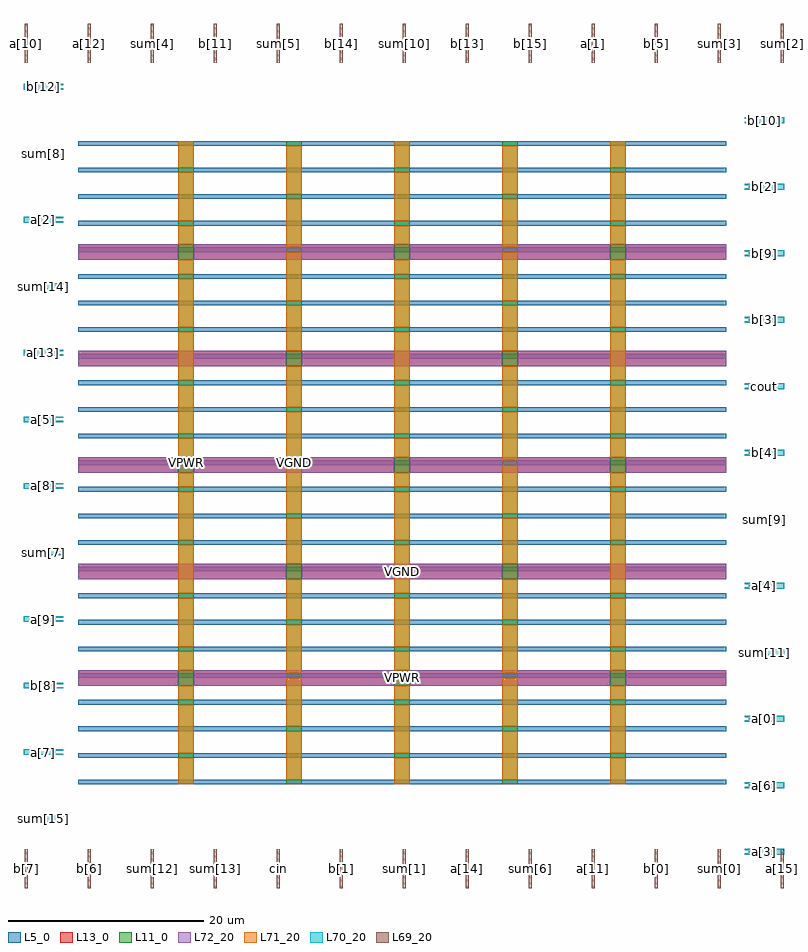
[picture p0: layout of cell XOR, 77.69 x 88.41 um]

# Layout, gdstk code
import gdstk
lib = gdstk.Library(unit=1e-6, precision=1e-09)
def R(c, l, rs):  # rectangles x0, y0, x1, y1
    for r in rs: c.add(gdstk.rectangle(r[:2], r[2:], *l))
def A(c, l, x, y, w, h, nx, ny, dx, dy):  # array of equal rectangles
    R(c, l, [(x+i*dx, y+j*dy, x+i*dx+w, y+j*dy+h) for i in range(nx) for j in range(ny)])
def P(c, l, *ps):  # polygons
    for p in ps: c.add(gdstk.Polygon(p, *l))
L5_0 = (5, 0)
L11_0 = (11, 0)
L13_0 = (13, 0)
L69_20 = (69, 20)
L70_20 = (70, 20)
L71_20 = (71, 20)
L72_20 = (72, 20)

xor = lib.new_cell('XOR')
P(xor, L69_20, [(0.09,0),(0.09,4),(0.16,4),(0.16,3.74),(0.3,3.74),(0.3,4),(0.37,4),(0.37,0)],
  [(6.53,0),(6.53,4),(6.6,4),(6.6,3.74),(6.74,3.74),(6.74,4),(6.81,4),(6.81,0)],
  [(12.97,0),(12.97,4),(13.04,4),(13.04,3.74),(13.18,3.74),(13.18,4),(13.25,4),(13.25,0)],
  [(19.41,0),(19.41,4),(19.48,4),(19.48,3.74),(19.62,3.74),(19.62,4),(19.69,4),(19.69,0)],
  [(25.85,0),(25.85,4),(25.92,4),(25.92,3.74),(26.06,3.74),(26.06,4),(26.13,4),(26.13,0)],
  [(32.29,0),(32.29,4),(32.36,4),(32.36,3.74),(32.5,3.74),(32.5,4),(32.57,4),(32.57,0)],
  [(38.73,0),(38.73,4),(38.8,4),(38.8,3.74),(38.94,3.74),(38.94,4),(39.01,4),(39.01,0)],
  [(45.17,0),(45.17,4),(45.24,4),(45.24,3.74),(45.38,3.74),(45.38,4),(45.45,4),(45.45,0)],
  [(51.61,0),(51.61,4),(51.68,4),(51.68,3.74),(51.82,3.74),(51.82,4),(51.89,4),(51.89,0)],
  [(58.05,0),(58.05,4),(58.12,4),(58.12,3.74),(58.26,3.74),(58.26,4),(58.33,4),(58.33,0)],
  [(64.49,0),(64.49,4),(64.56,4),(64.56,3.74),(64.7,3.74),(64.7,4),(64.77,4),(64.77,0)],
  [(70.93,0),(70.93,4),(71,4),(71,3.74),(71.14,3.74),(71.14,4),(71.21,4),(71.21,0)],
  [(77.37,0),(77.37,4),(77.44,4),(77.44,3.74),(77.58,3.74),(77.58,4),(77.65,4),(77.65,0)],
  [(0.09,84.405),(0.09,88.405),(0.37,88.405),(0.37,84.405),(0.3,84.405),(0.3,84.66),(0.16,84.66),(0.16,84.405)],
  [(6.53,84.405),(6.53,88.405),(6.81,88.405),(6.81,84.405),(6.74,84.405),(6.74,84.66),(6.6,84.66),(6.6,84.405)],
  [(12.97,84.405),(12.97,88.405),(13.25,88.405),(13.25,84.405),(13.18,84.405),(13.18,84.66),(13.04,84.66),(13.04,84.405)],
  [(19.41,84.405),(19.41,88.405),(19.69,88.405),(19.69,84.405),(19.62,84.405),(19.62,84.66),(19.48,84.66),(19.48,84.405)],
  [(25.85,84.405),(25.85,88.405),(26.13,88.405),(26.13,84.405),(26.06,84.405),(26.06,84.66),(25.92,84.66),(25.92,84.405)],
  [(32.29,84.405),(32.29,88.405),(32.57,88.405),(32.57,84.405),(32.5,84.405),(32.5,84.66),(32.36,84.66),(32.36,84.405)],
  [(38.73,84.405),(38.73,88.405),(39.01,88.405),(39.01,84.405),(38.94,84.405),(38.94,84.66),(38.8,84.66),(38.8,84.405)],
  [(45.17,84.405),(45.17,88.405),(45.45,88.405),(45.45,84.405),(45.38,84.405),(45.38,84.66),(45.24,84.66),(45.24,84.405)],
  [(51.61,84.405),(51.61,88.405),(51.89,88.405),(51.89,84.405),(51.82,84.405),(51.82,84.66),(51.68,84.66),(51.68,84.405)],
  [(58.05,84.405),(58.05,88.405),(58.33,88.405),(58.33,84.405),(58.26,84.405),(58.26,84.66),(58.12,84.66),(58.12,84.405)],
  [(64.49,84.405),(64.49,88.405),(64.77,88.405),(64.77,84.405),(64.7,84.405),(64.7,84.66),(64.56,84.66),(64.56,84.405)],
  [(70.93,84.405),(70.93,88.405),(71.21,88.405),(71.21,84.405),(71.14,84.405),(71.14,84.66),(71,84.66),(71,84.405)],
  [(77.37,84.405),(77.37,88.405),(77.65,88.405),(77.65,84.405),(77.58,84.405),(77.58,84.66),(77.44,84.66),(77.44,84.405)])
P(xor, L70_20, [(73.685,3.44),(73.685,3.59),(74.06,3.59),(74.06,3.89),(73.685,3.89),(73.685,4.04),(77.685,4.04),(77.685,3.44)],
  [(0,6.84),(0,7.44),(4,7.44),(4,7.29),(3.22,7.29),(3.22,6.99),(4,6.99),(4,6.84)],
  [(73.685,10.24),(73.685,10.39),(74.06,10.39),(74.06,10.69),(73.685,10.69),(73.685,10.84),(77.685,10.84),(77.685,10.24)],
  [(0,13.64),(0,14.24),(4,14.24),(4,14.09),(3.22,14.09),(3.22,13.79),(4,13.79),(4,13.64)],
  [(73.685,17.04),(73.685,17.19),(74.06,17.19),(74.06,17.49),(73.685,17.49),(73.685,17.64),(77.685,17.64),(77.685,17.04)],
  [(0,20.44),(0,21.04),(4,21.04),(4,20.89),(3.22,20.89),(3.22,20.59),(4,20.59),(4,20.44)],
  [(73.685,23.84),(73.685,23.99),(74.06,23.99),(74.06,24.29),(73.685,24.29),(73.685,24.44),(77.685,24.44),(77.685,23.84)],
  [(0,27.24),(0,27.84),(4,27.84),(4,27.69),(3.22,27.69),(3.22,27.39),(4,27.39),(4,27.24)],
  [(73.685,30.64),(73.685,30.79),(74.06,30.79),(74.06,31.09),(73.685,31.09),(73.685,31.24),(77.685,31.24),(77.685,30.64)],
  [(0,34.04),(0,34.64),(4,34.64),(4,34.49),(3.22,34.49),(3.22,34.19),(4,34.19),(4,34.04)],
  [(73.685,37.44),(73.685,37.59),(74.06,37.59),(74.06,37.89),(73.685,37.89),(73.685,38.04),(77.685,38.04),(77.685,37.44)],
  [(0,40.84),(0,41.44),(4,41.44),(4,41.29),(3.22,41.29),(3.22,40.99),(4,40.99),(4,40.84)],
  [(73.685,44.24),(73.685,44.39),(74.06,44.39),(74.06,44.69),(73.685,44.69),(73.685,44.84),(77.685,44.84),(77.685,44.24)],
  [(0,47.64),(0,48.24),(4,48.24),(4,48.09),(3.22,48.09),(3.22,47.79),(4,47.79),(4,47.64)],
  [(73.685,51.04),(73.685,51.19),(74.06,51.19),(74.06,51.49),(73.685,51.49),(73.685,51.64),(77.685,51.64),(77.685,51.04)],
  [(0,54.44),(0,55.04),(4,55.04),(4,54.89),(3.22,54.89),(3.22,54.59),(4,54.59),(4,54.44)],
  [(73.685,57.84),(73.685,57.99),(74.06,57.99),(74.06,58.29),(73.685,58.29),(73.685,58.44),(77.685,58.44),(77.685,57.84)],
  [(0,61.24),(0,61.84),(4,61.84),(4,61.69),(3.22,61.69),(3.22,61.39),(4,61.39),(4,61.24)],
  [(73.685,64.64),(73.685,64.79),(74.06,64.79),(74.06,65.09),(73.685,65.09),(73.685,65.24),(77.685,65.24),(77.685,64.64)],
  [(0,68.04),(0,68.64),(4,68.64),(4,68.49),(3.22,68.49),(3.22,68.19),(4,68.19),(4,68.04)],
  [(73.685,71.44),(73.685,71.59),(74.06,71.59),(74.06,71.89),(73.685,71.89),(73.685,72.04),(77.685,72.04),(77.685,71.44)],
  [(0,74.84),(0,75.44),(4,75.44),(4,75.29),(3.22,75.29),(3.22,74.99),(4,74.99),(4,74.84)],
  [(73.685,78.24),(73.685,78.39),(74.06,78.39),(74.06,78.69),(73.685,78.69),(73.685,78.84),(77.685,78.84),(77.685,78.24)],
  [(0,81.64),(0,82.24),(4,82.24),(4,82.09),(3.22,82.09),(3.22,81.79),(4,81.79),(4,81.64)])
A(xor, L71_20, 15.76, 10.64, 1.6, 2.72, 3, 2, 22.08, 63.04)
A(xor, L71_20, 26.8, 11.12, 1.6, 4.96, 1, 3, 0, 5.44)
A(xor, L71_20, 48.88, 11.12, 1.6, 4.96, 1, 3, 0, 5.44)
A(xor, L71_20, 15.76, 13.84, 1.6, 4.96, 3, 2, 22.08, 10.88)
A(xor, L71_20, 15.76, 19.28, 1.6, 1.44, 3, 3, 22.08, 21.76)
A(xor, L71_20, 15.76, 22.32, 1.6, 1.92, 3, 3, 22.08, 21.76)
A(xor, L71_20, 15.76, 30.16, 1.6, 4.96, 3, 2, 22.08, 5.44)
A(xor, L71_20, 15.76, 46.48, 1.6, 4.96, 3, 3, 22.08, 5.44)
A(xor, L71_20, 26.8, 60.08, 1.6, 4.96, 1, 3, 0, 5.44)
A(xor, L71_20, 48.88, 60.08, 1.6, 4.96, 1, 3, 0, 5.44)
A(xor, L71_20, 15.76, 68.24, 1.6, 4.96, 3, 1, 22.08, 0)
R(xor, L71_20, [(26.8,27.44,28.4,31.6), (48.88,27.44,50.48,31.6), (26.8,33.2,28.4,37.84), (48.88,33.2,50.48,37.84), (26.8,38.32,28.4,43.28), (48.88,38.32,50.48,43.28), (26.8,43.76,28.4,48.72), (48.88,43.76,50.48,48.72), (26.8,49.2,28.4,53.36), (48.88,49.2,50.48,53.36), (26.8,54.96,28.4,59.6), (48.88,54.96,50.48,59.6)])
A(xor, L72_20, 5.52, 20.72, 10.24, 1.6, 1, 3, 0, 21.76)
A(xor, L72_20, 17.36, 20.72, 20.48, 1.6, 1, 3, 0, 21.76)
A(xor, L72_20, 39.44, 20.72, 20.48, 1.6, 1, 3, 0, 21.76)
A(xor, L72_20, 61.52, 20.72, 10.24, 1.6, 1, 3, 0, 21.76)
R(xor, L72_20, [(5.52,31.6,26.8,33.2), (28.4,31.6,48.88,33.2), (50.48,31.6,71.76,33.2), (5.52,53.36,26.8,54.96), (28.4,53.36,48.88,54.96), (50.48,53.36,71.76,54.96)])
xor.add(gdstk.FlexPath([(49.68,10.64),(49.68,76.4)], 1.6, ends="flush", simple_path=True, layer=11, datatype=0))  # L11_0
xor.add(gdstk.FlexPath([(27.6,10.64),(27.6,76.4)], 1.6, ends="flush", simple_path=True, layer=11, datatype=0))  # L11_0
xor.add(gdstk.FlexPath([(60.72,10.64),(60.72,76.4)], 1.6, ends="flush", simple_path=True, layer=11, datatype=0))  # L11_0
xor.add(gdstk.FlexPath([(38.64,10.64),(38.64,76.4)], 1.6, ends="flush", simple_path=True, layer=11, datatype=0))  # L11_0
xor.add(gdstk.FlexPath([(16.56,10.64),(16.56,76.4)], 1.6, ends="flush", simple_path=True, layer=11, datatype=0))  # L11_0
xor.add(gdstk.FlexPath([(5.52,54.16),(71.76,54.16)], 1.6, ends="flush", simple_path=True, layer=13, datatype=0))  # L13_0
xor.add(gdstk.FlexPath([(5.52,32.4),(71.76,32.4)], 1.6, ends="flush", simple_path=True, layer=13, datatype=0))  # L13_0
xor.add(gdstk.FlexPath([(5.52,65.04),(71.76,65.04)], 1.6, ends="flush", simple_path=True, layer=13, datatype=0))  # L13_0
xor.add(gdstk.FlexPath([(5.52,43.28),(71.76,43.28)], 1.6, ends="flush", simple_path=True, layer=13, datatype=0))  # L13_0
xor.add(gdstk.FlexPath([(5.52,21.52),(71.76,21.52)], 1.6, ends="flush", simple_path=True, layer=13, datatype=0))  # L13_0
xor.add(gdstk.FlexPath([(5.52,76.16),(71.76,76.16)], 0.48, ends="flush", simple_path=True, layer=5, datatype=0))  # L5_0
xor.add(gdstk.FlexPath([(5.52,70.72),(71.76,70.72)], 0.48, ends="flush", simple_path=True, layer=5, datatype=0))  # L5_0
xor.add(gdstk.FlexPath([(5.52,65.28),(71.76,65.28)], 0.48, ends="flush", simple_path=True, layer=5, datatype=0))  # L5_0
xor.add(gdstk.FlexPath([(5.52,59.84),(71.76,59.84)], 0.48, ends="flush", simple_path=True, layer=5, datatype=0))  # L5_0
xor.add(gdstk.FlexPath([(5.52,54.4),(71.76,54.4)], 0.48, ends="flush", simple_path=True, layer=5, datatype=0))  # L5_0
xor.add(gdstk.FlexPath([(5.52,48.96),(71.76,48.96)], 0.48, ends="flush", simple_path=True, layer=5, datatype=0))  # L5_0
xor.add(gdstk.FlexPath([(5.52,43.52),(71.76,43.52)], 0.48, ends="flush", simple_path=True, layer=5, datatype=0))  # L5_0
xor.add(gdstk.FlexPath([(5.52,38.08),(71.76,38.08)], 0.48, ends="flush", simple_path=True, layer=5, datatype=0))  # L5_0
xor.add(gdstk.FlexPath([(5.52,32.64),(71.76,32.64)], 0.48, ends="flush", simple_path=True, layer=5, datatype=0))  # L5_0
xor.add(gdstk.FlexPath([(5.52,27.2),(71.76,27.2)], 0.48, ends="flush", simple_path=True, layer=5, datatype=0))  # L5_0
xor.add(gdstk.FlexPath([(5.52,21.76),(71.76,21.76)], 0.48, ends="flush", simple_path=True, layer=5, datatype=0))  # L5_0
xor.add(gdstk.FlexPath([(5.52,16.32),(71.76,16.32)], 0.48, ends="flush", simple_path=True, layer=5, datatype=0))  # L5_0
xor.add(gdstk.FlexPath([(5.52,10.88),(71.76,10.88)], 0.48, ends="flush", simple_path=True, layer=5, datatype=0))  # L5_0
xor.add(gdstk.FlexPath([(5.52,73.44),(71.76,73.44)], 0.48, ends="flush", simple_path=True, layer=5, datatype=0))  # L5_0
xor.add(gdstk.FlexPath([(5.52,68),(71.76,68)], 0.48, ends="flush", simple_path=True, layer=5, datatype=0))  # L5_0
xor.add(gdstk.FlexPath([(5.52,62.56),(71.76,62.56)], 0.48, ends="flush", simple_path=True, layer=5, datatype=0))  # L5_0
xor.add(gdstk.FlexPath([(5.52,57.12),(71.76,57.12)], 0.48, ends="flush", simple_path=True, layer=5, datatype=0))  # L5_0
xor.add(gdstk.FlexPath([(5.52,51.68),(71.76,51.68)], 0.48, ends="flush", simple_path=True, layer=5, datatype=0))  # L5_0
xor.add(gdstk.FlexPath([(5.52,46.24),(71.76,46.24)], 0.48, ends="flush", simple_path=True, layer=5, datatype=0))  # L5_0
xor.add(gdstk.FlexPath([(5.52,40.8),(71.76,40.8)], 0.48, ends="flush", simple_path=True, layer=5, datatype=0))  # L5_0
xor.add(gdstk.FlexPath([(5.52,35.36),(71.76,35.36)], 0.48, ends="flush", simple_path=True, layer=5, datatype=0))  # L5_0
xor.add(gdstk.FlexPath([(5.52,29.92),(71.76,29.92)], 0.48, ends="flush", simple_path=True, layer=5, datatype=0))  # L5_0
xor.add(gdstk.FlexPath([(5.52,24.48),(71.76,24.48)], 0.48, ends="flush", simple_path=True, layer=5, datatype=0))  # L5_0
xor.add(gdstk.FlexPath([(5.52,19.04),(71.76,19.04)], 0.48, ends="flush", simple_path=True, layer=5, datatype=0))  # L5_0
xor.add(gdstk.FlexPath([(5.52,13.6),(71.76,13.6)], 0.48, ends="flush", simple_path=True, layer=5, datatype=0))  # L5_0
xor.add(gdstk.Label('a[10]', (0.23,86.405), layer=69, texttype=5))
xor.add(gdstk.Label('a[11]', (58.19,2), layer=69, texttype=5))
xor.add(gdstk.Label('a[12]', (6.67,86.405), layer=69, texttype=5))
xor.add(gdstk.Label('a[14]', (45.31,2), layer=69, texttype=5))
xor.add(gdstk.Label('a[15]', (77.51,2), layer=69, texttype=5))
xor.add(gdstk.Label('a[1]', (58.19,86.405), layer=69, texttype=5))
xor.add(gdstk.Label('b[0]', (64.63,2), layer=69, texttype=5))
xor.add(gdstk.Label('b[11]', (19.55,86.405), layer=69, texttype=5))
xor.add(gdstk.Label('b[13]', (45.31,86.405), layer=69, texttype=5))
xor.add(gdstk.Label('b[14]', (32.43,86.405), layer=69, texttype=5))
xor.add(gdstk.Label('b[15]', (51.75,86.405), layer=69, texttype=5))
xor.add(gdstk.Label('b[1]', (32.43,2), layer=69, texttype=5))
xor.add(gdstk.Label('b[5]', (64.63,86.405), layer=69, texttype=5))
xor.add(gdstk.Label('b[6]', (6.67,2), layer=69, texttype=5))
xor.add(gdstk.Label('b[7]', (0.23,2), layer=69, texttype=5))
xor.add(gdstk.Label('cin', (25.99,2), layer=69, texttype=5))
xor.add(gdstk.Label('sum[0]', (71.07,2), layer=69, texttype=5))
xor.add(gdstk.Label('sum[10]', (38.87,86.405), layer=69, texttype=5))
xor.add(gdstk.Label('sum[12]', (13.11,2), layer=69, texttype=5))
xor.add(gdstk.Label('sum[13]', (19.55,2), layer=69, texttype=5))
xor.add(gdstk.Label('sum[1]', (38.87,2), layer=69, texttype=5))
xor.add(gdstk.Label('sum[2]', (77.51,86.405), layer=69, texttype=5))
xor.add(gdstk.Label('sum[3]', (71.07,86.405), layer=69, texttype=5))
xor.add(gdstk.Label('sum[4]', (13.11,86.405), layer=69, texttype=5))
xor.add(gdstk.Label('sum[5]', (25.99,86.405), layer=69, texttype=5))
xor.add(gdstk.Label('sum[6]', (51.75,2), layer=69, texttype=5))
xor.add(gdstk.Label('a[0]', (75.685,17.34), layer=70, texttype=5))
xor.add(gdstk.Label('a[13]', (2,54.74), layer=70, texttype=5))
xor.add(gdstk.Label('a[2]', (2,68.34), layer=70, texttype=5))
xor.add(gdstk.Label('a[3]', (75.685,3.74), layer=70, texttype=5))
xor.add(gdstk.Label('a[4]', (75.685,30.94), layer=70, texttype=5))
xor.add(gdstk.Label('a[5]', (2,47.94), layer=70, texttype=5))
xor.add(gdstk.Label('a[6]', (75.685,10.54), layer=70, texttype=5))
xor.add(gdstk.Label('a[7]', (2,13.94), layer=70, texttype=5))
xor.add(gdstk.Label('a[8]', (2,41.14), layer=70, texttype=5))
xor.add(gdstk.Label('a[9]', (2,27.54), layer=70, texttype=5))
xor.add(gdstk.Label('b[10]', (75.685,78.54), layer=70, texttype=5))
xor.add(gdstk.Label('b[12]', (2,81.94), layer=70, texttype=5))
xor.add(gdstk.Label('b[2]', (75.685,71.74), layer=70, texttype=5))
xor.add(gdstk.Label('b[3]', (75.685,58.14), layer=70, texttype=5))
xor.add(gdstk.Label('b[4]', (75.685,44.54), layer=70, texttype=5))
xor.add(gdstk.Label('b[8]', (2,20.74), layer=70, texttype=5))
xor.add(gdstk.Label('b[9]', (75.685,64.94), layer=70, texttype=5))
xor.add(gdstk.Label('cout', (75.685,51.34), layer=70, texttype=5))
xor.add(gdstk.Label('sum[11]', (75.685,24.14), layer=70, texttype=5))
xor.add(gdstk.Label('sum[14]', (2,61.54), layer=70, texttype=5))
xor.add(gdstk.Label('sum[15]', (2,7.14), layer=70, texttype=5))
xor.add(gdstk.Label('sum[7]', (2,34.34), layer=70, texttype=5))
xor.add(gdstk.Label('sum[8]', (2,75.14), layer=70, texttype=5))
xor.add(gdstk.Label('sum[9]', (75.685,37.74), layer=70, texttype=5))
xor.add(gdstk.Label('VGND', (27.6,43.52), layer=71, texttype=5))
xor.add(gdstk.Label('VPWR', (16.56,43.52), layer=71, texttype=5))
xor.add(gdstk.Label('VGND', (38.64,32.4), layer=72, texttype=5))
xor.add(gdstk.Label('VPWR', (38.64,21.52), layer=72, texttype=5))

lib.write_gds('XOR.gds')
